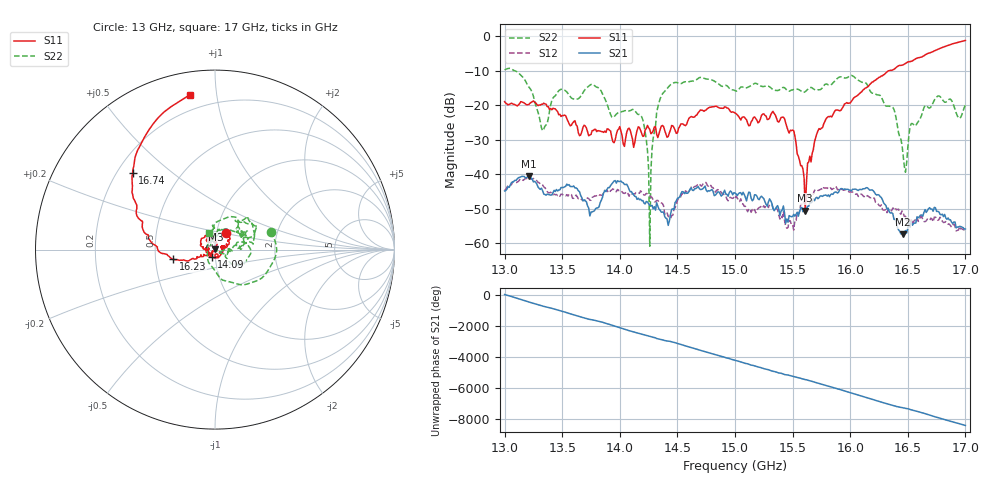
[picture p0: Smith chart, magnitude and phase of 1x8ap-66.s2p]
!Keysight Technologies,P9374A,MY57211807,A.19.30.04
!Date: Friday, May 08, 2026 15:47:38
!Correction: S11(C  2-Port  )
!S21(C  2-Port  )
!S12(C  2-Port  )
!S22(C  2-Port  )
!S2P File: Measurements: S11, S21, S12, S22:
# Hz S  dB  R 50
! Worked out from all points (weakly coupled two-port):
!   401 points, 13 GHz to 17 GHz, reference 50 ohm
!   highest |S21| = -40.59 dB at 13.21 GHz (marker M1); lowest = -57.4 dB at 16.46 GHz (marker M2)
!   lowest |S11| = -50.6 dB at 15.61 GHz (marker M3), VSWR 1.01, Z = 50.2 + j0.195 ohm
!   |S11| at or under -10 dB: start of sweep to 16.33 GHz
!   |S22| runs from -60.9 to -9.3 dB; largest |S21 - S12| = 0.0029
!   S11 on the Smith chart (normalised r, x): 13 GHz: 1.12, +0.21; 14.09 GHz: 0.96, -0.08; 16.23 GHz: 0.62, -0.07; 16.74 GHz: 0.26, +0.37; 17 GHz: 0.12, +0.84
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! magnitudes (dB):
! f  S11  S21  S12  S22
! 13 GHz  -19.0  -44.9  -44.6  -9.7
! 13.21 GHz  -19.8  -40.6  -40.9  -14.7
! 13.34 GHz  -19.4  -45.8  -43.7  -26.9
! 13.47 GHz  -22.7  -44.6  -46.0  -15.8
! 13.67 GHz  -27.7  -46.8  -47.4  -16.9
! 13.76 GHz  -27.4  -51.0  -46.8  -13.9
! 14.09 GHz  -27.2  -45.1  -45.6  -21.5
! 14.2 GHz  -29.0  -47.7  -45.7  -24.3
! 14.26 GHz  -27.0  -49.1  -46.3  -60.9
! 14.34 GHz  -28.3  -50.2  -48.1  -19.3
! 14.44 GHz  -27.2  -51.7  -52.9  -14.0
! 14.7 GHz  -21.4  -44.5  -43.3  -11.9
! 15 GHz  -22.2  -45.5  -47.2  -15.7
! 15.42 GHz  -23.5  -49.3  -50.9  -14.8
! 15.61 GHz  -50.6  -51.0  -48.0  -16.0
! 15.67 GHz  -34.0  -48.1  -46.2  -15.0
! 15.8 GHz  -23.6  -46.4  -44.2  -13.9
! 16.23 GHz  -12.4  -46.1  -48.3  -16.9
! 16.34 GHz  -9.9  -51.0  -50.8  -20.3
! 16.46 GHz  -8.3  -57.4  -51.3  -34.6
! 16.74 GHz  -4.1  -49.8  -52.5  -18.0
! 17 GHz  -1.2  -55.9  -56.2  -19.9
